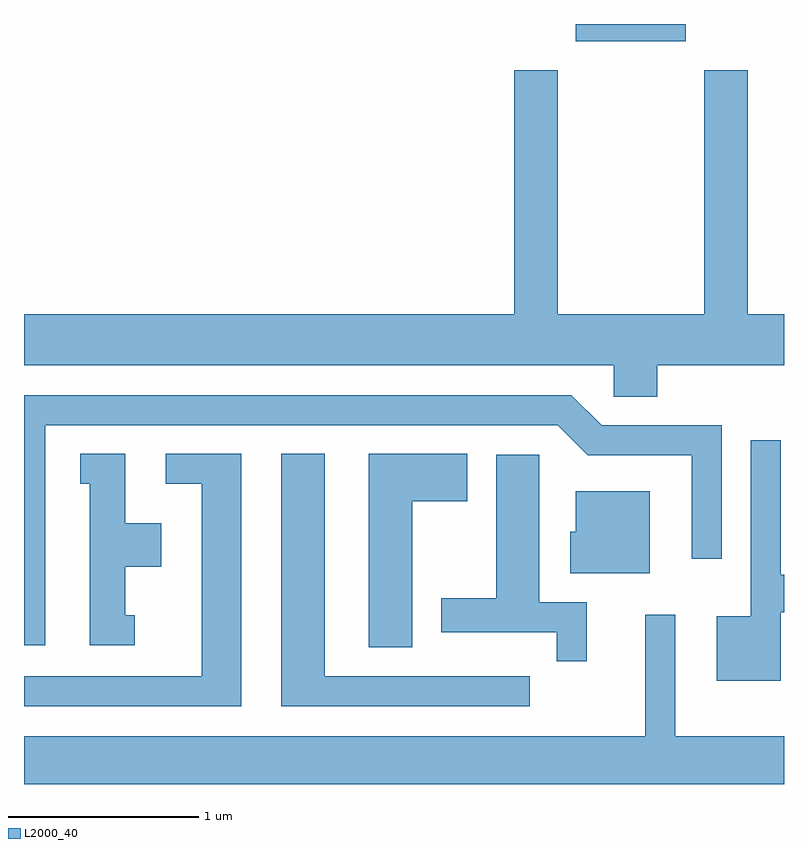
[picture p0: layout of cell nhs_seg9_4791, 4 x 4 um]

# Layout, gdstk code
import gdstk
lib = gdstk.Library(unit=1e-6, precision=1e-09)
def R(c, l, rs):  # rectangles x0, y0, x1, y1
    for r in rs: c.add(gdstk.rectangle(r[:2], r[2:], *l))
def P(c, l, *ps):  # polygons
    for p in ps: c.add(gdstk.Polygon(p, *l))
L2000_40 = (2000, 40)

nhs_seg9_4791 = lib.new_cell('nhs_seg9_4791')
R(nhs_seg9_4791, L2000_40, [(328.516,2062.341,329.094,2062.432)])
P(nhs_seg9_4791, L2000_40, [(328.944,2060.636),(329.611,2060.636),(329.611,2060.904),(329.419,2060.904),(329.419,2062.189),(329.191,2062.189),(329.191,2060.904),(328.419,2060.904),(328.419,2062.189),(328.191,2062.189),(328.191,2060.904),(325.611,2060.904),(325.611,2060.636),(328.716,2060.636),(328.716,2060.471),(328.944,2060.471)],
  [(325.724,2060.321),(328.419,2060.321),(328.579,2060.161),(329.126,2060.161),(329.126,2059.617),(329.284,2059.617),(329.284,2060.319),(328.652,2060.319),(328.492,2060.479),(325.611,2060.479),(325.611,2059.161),(325.724,2059.161)],
  [(329.594,2059.336),(329.611,2059.336),(329.611,2059.534),(329.594,2059.534),(329.594,2060.242),(329.436,2060.242),(329.436,2059.314),(329.256,2059.314),(329.256,2058.976),(329.594,2058.976)],
  [(328.273,2058.999),(327.194,2058.999),(327.194,2060.169),(326.966,2060.169),(326.966,2058.841),(328.273,2058.841)],
  [(327.654,2059.921),(327.944,2059.921),(327.944,2060.169),(327.426,2060.169),(327.426,2059.151),(327.654,2059.151)],
  [(326.754,2060.169),(326.358,2060.169),(326.358,2060.011),(326.546,2060.011),(326.546,2058.999),(325.611,2058.999),(325.611,2058.841),(326.754,2058.841)],
  [(326.193,2059.319),(326.144,2059.319),(326.144,2059.576),(326.334,2059.576),(326.334,2059.804),(326.144,2059.804),(326.144,2060.169),(325.908,2060.169),(325.908,2060.011),(325.956,2060.011),(325.956,2059.161),(326.193,2059.161)],
  [(328.574,2059.389),(328.324,2059.389),(328.324,2060.164),(328.096,2060.164),(328.096,2059.409),(327.806,2059.409),(327.806,2059.231),(328.416,2059.231),(328.416,2059.077),(328.574,2059.077)],
  [(328.904,2059.974),(328.516,2059.974),(328.516,2059.759),(328.486,2059.759),(328.486,2059.541),(328.904,2059.541)],
  [(329.611,2058.684),(329.039,2058.684),(329.039,2059.323),(328.881,2059.323),(328.881,2058.684),(325.611,2058.684),(325.611,2058.432),(329.611,2058.432)])

lib.write_gds('nhs_seg9_4791.gds')
